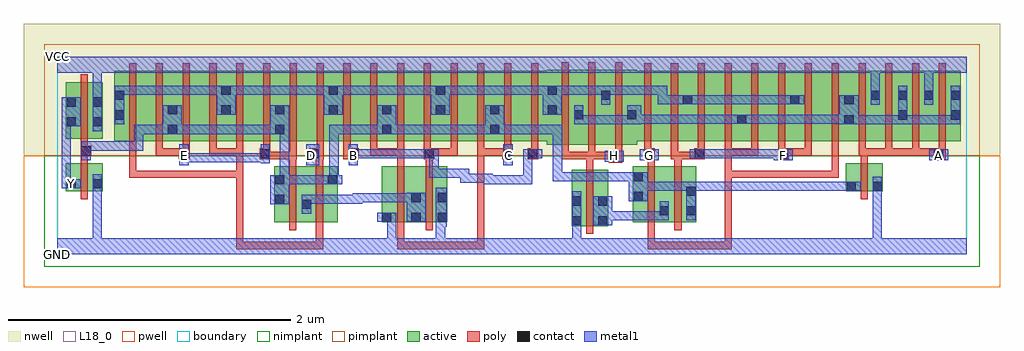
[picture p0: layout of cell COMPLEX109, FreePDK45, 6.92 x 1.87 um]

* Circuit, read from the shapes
.subckt COMPLEX109 A B C D E F G GND H VCC Y
M1 GND n1 Y VSUBS nfet w=0.2u l=0.05u
M2 n2 E n1 VSUBS nfet w=0.4u l=0.05u
M3 n1 D n2 VSUBS nfet w=0.4u l=0.05u
M4 n2 C GND VSUBS nfet w=0.4u l=0.05u
M5 GND B n2 VSUBS nfet w=0.4u l=0.05u
M6 n3 H GND VSUBS nfet w=0.4u l=0.05u
M7 n3 G n1 VSUBS nfet w=0.4u l=0.05u
M8 n1 F n3 VSUBS nfet w=0.4u l=0.05u
M9 GND A n1 VSUBS nfet w=0.2u l=0.05u
M10 VCC n1 Y n4 pfet w=0.4u l=0.05u
M11 n5 D n6 n4 pfet w=0.5u l=0.05u
M12 n1 E n5 n4 pfet w=0.5u l=0.05u
M13 n7 E n1 n4 pfet w=0.5u l=0.05u
M14 n6 D n7 n4 pfet w=0.5u l=0.05u
M15 n8 D n6 n4 pfet w=0.5u l=0.05u
M16 n1 E n8 n4 pfet w=0.5u l=0.05u
M17 n9 E n1 n4 pfet w=0.5u l=0.05u
M18 n6 D n9 n4 pfet w=0.5u l=0.05u
M19 n10 B n6 n4 pfet w=0.5u l=0.05u
M20 n1 C n10 n4 pfet w=0.5u l=0.05u
M21 n11 C n1 n4 pfet w=0.5u l=0.05u
M22 n6 B n11 n4 pfet w=0.5u l=0.05u
M23 n12 B n6 n4 pfet w=0.5u l=0.05u
M24 n1 C n12 n4 pfet w=0.5u l=0.05u
M25 n13 C n1 n4 pfet w=0.5u l=0.05u
M26 n6 B n13 n4 pfet w=0.5u l=0.05u
M27 n14 H n6 n4 pfet w=0.532u l=0.05u m=3
M28 n15 G n14 n4 pfet w=0.5u l=0.05u
M29 n6 F n15 n4 pfet w=0.5u l=0.05u
M30 n16 F n6 n4 pfet w=0.5u l=0.05u
M31 n14 G n16 n4 pfet w=0.5u l=0.05u
M32 n17 G n14 n4 pfet w=0.5u l=0.05u
M33 n6 F n17 n4 pfet w=0.5u l=0.05u
M34 n18 F n6 n4 pfet w=0.5u l=0.05u
M35 n14 G n18 n4 pfet w=0.5u l=0.05u
M36 VCC A n14 n4 pfet w=0.5u l=0.05u m=4
.ends

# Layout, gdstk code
import gdstk
lib = gdstk.Library(unit=1e-6, precision=1e-09)
def R(c, l, rs):  # rectangles x0, y0, x1, y1
    for r in rs: c.add(gdstk.rectangle(r[:2], r[2:], *l))
def A(c, l, x, y, w, h, nx, ny, dx, dy):  # array of equal rectangles
    R(c, l, [(x+i*dx, y+j*dy, x+i*dx+w, y+j*dy+h) for i in range(nx) for j in range(ny)])
active = (1, 0)
pwell = (2, 0)
nwell = (3, 0)
nimplant = (4, 0)
pimplant = (5, 0)
poly = (9, 0)
contact = (10, 0)
metal1 = (11, 0)
L18_0 = (18, 0)
boundary = (235, 0)

complex109 = lib.new_cell('COMPLEX109')
A(complex109, active, 0.63, 0.8, 0.225, 0.5, 6, 1, 0.38, 0)
A(complex109, active, 0.78, 0.8, 0.23, 0.5, 6, 1, 0.38, 0)
A(complex109, active, 0.78, 0.8, 0.075, 0.27, 3, 1, 0.76, 0)
R(complex109, active, [(3.647,0.2,3.907,0.6), (3.647,0.2,3.722,0.6), (3.832,0.2,3.907,0.6), (1.54,0.225,1.805,0.625), (1.54,0.225,1.615,0.625), (1.73,0.225,1.99,0.625), (1.73,0.225,1.805,0.537), (2.3,0.225,2.375,0.625), (2.3,0.225,2.582,0.625), (2.507,0.225,2.767,0.625), (2.507,0.225,2.582,0.537), (2.692,0.225,2.767,0.625), (4.082,0.225,4.342,0.625), (4.267,0.225,4.532,0.625), (1.915,0.245,1.99,0.625), (4.082,0.245,4.157,0.625), (4.267,0.245,4.342,0.537), (4.457,0.245,4.532,0.625), (0.062,0.445,0.137,0.645), (0.062,0.445,0.322,0.645), (0.247,0.445,0.322,0.645), (5.592,0.445,5.667,0.645), (5.592,0.445,5.852,0.645), (5.777,0.445,5.852,0.645), (3.472,0.775,3.735,1.307), (3.66,0.775,3.927,1.307), (3.66,0.775,3.735,1.07), (3.852,0.775,4.112,1.307), (3.852,0.775,3.927,1.2), (0.405,0.8,0.63,1.3), (0.405,0.8,0.51,1.2), (1.92,0.8,1.995,1.2), (2.91,0.8,3.14,1.3), (3.065,0.8,3.29,1.3), (3.065,0.8,3.14,1.07), (3.29,0.8,3.547,1.3), (3.472,0.8,3.547,1.2), (4.037,0.8,4.282,1.3), (4.282,0.8,4.507,1.3), (4.432,0.8,4.662,1.3), (4.662,0.8,4.892,1.3), (4.817,0.8,5.042,1.3), (5.042,0.8,5.267,1.3), (5.192,0.8,5.422,1.3), (5.422,0.8,5.652,1.3), (5.577,0.8,5.837,1.3), (5.762,0.8,6.032,1.3), (5.957,0.8,6.217,1.3), (6.142,0.8,6.407,1.3), (6.332,0.8,6.407,1.2), (1.16,0.807,1.235,1.2), (2.68,0.807,2.755,1.2), (4.037,0.807,4.112,1.07), (4.432,0.807,4.507,1.2), (4.817,0.807,4.892,1.07), (5.192,0.807,5.267,1.2), (5.577,0.807,5.652,1.2), (5.762,0.807,5.837,1.255), (5.957,0.807,6.032,1.2), (6.142,0.807,6.217,1.255), (0.062,0.82,0.137,1.2), (0.062,0.82,0.322,1.22), (0.247,0.82,0.322,1.22)])
R(complex109, pwell, [(-0.235,-0.235,6.685,0.7)])
R(complex109, nwell, [(-0.235,0.7,6.685,1.635)])
R(complex109, nimplant, [(-0.09,-0.09,6.54,0.7)])
R(complex109, pimplant, [(-0.09,0.7,6.54,1.49)])
A(complex109, poly, 3.577, 0.675, 0.05, 0.095, 3, 1, 0.19, 0)
A(complex109, poly, 0.7, 0.7, 0.05, 0.095, 5, 1, 0.19, 0)
A(complex109, poly, 1.84, 0.7, 0.05, 0.095, 9, 1, 0.19, 0)
A(complex109, poly, 4.542, 0.7, 0.05, 0.095, 5, 1, 0.19, 0)
A(complex109, poly, 5.682, 0.7, 0.05, 0.095, 4, 1, 0.19, 0)
A(complex109, poly, 3.577, 0.72, 0.05, 0.642, 3, 1, 0.19, 0)
A(complex109, poly, 0.51, 0.745, 0.05, 0.61, 16, 1, 0.19, 0)
A(complex109, poly, 4.162, 0.745, 0.05, 0.61, 12, 1, 0.19, 0)
R(complex109, poly, [(1.27,0.037,1.32,0.087), (1.27,0.037,1.32,0.592), (1.27,0.037,1.49,0.087), (1.44,0.037,1.49,0.087), (1.44,0.037,1.49,0.087), (1.44,0.037,1.49,0.087), (1.44,0.037,1.49,0.087), (1.44,0.037,1.49,0.087), (1.44,0.037,1.49,0.087), (1.44,0.037,1.49,0.087), (1.44,0.037,1.705,0.087), (1.655,0.037,1.705,0.087), (1.655,0.037,1.705,0.087), (1.655,0.037,1.705,0.087), (1.655,0.037,1.885,0.087), (1.835,0.037,1.885,0.087), (1.835,0.037,1.885,0.087), (1.835,0.037,1.885,0.087), (1.835,0.037,1.885,0.22), (2.41,0.037,2.46,0.087), (2.41,0.037,2.46,0.087), (2.41,0.037,2.46,0.087), (2.41,0.037,2.46,0.22), (2.41,0.037,2.707,0.087), (2.657,0.037,2.707,0.087), (2.657,0.037,2.707,0.087), (2.657,0.037,2.707,0.087), (2.657,0.037,2.84,0.087), (2.79,0.037,2.84,0.087), (2.79,0.037,2.84,0.087), (2.79,0.037,2.84,0.087), (2.79,0.037,2.84,0.087), (2.79,0.037,2.84,0.087), (2.79,0.037,3.03,0.087), (2.98,0.037,3.03,0.087), (2.98,0.037,3.03,0.087), (2.98,0.037,3.03,0.087), (2.98,0.037,3.03,0.087), (2.98,0.037,3.03,0.087), (2.98,0.037,3.03,0.087), (2.98,0.037,3.03,0.087), (2.98,0.037,3.03,0.75), (4.187,0.037,4.237,0.087), (4.187,0.037,4.237,0.087), (4.187,0.037,4.237,0.087), (4.187,0.037,4.435,0.087), (4.187,0.037,4.237,0.22), (4.385,0.037,4.435,0.087), (4.385,0.037,4.502,0.087), (4.452,0.037,4.502,0.087), (4.452,0.037,4.575,0.087), (4.525,0.037,4.575,0.087), (4.525,0.037,4.575,0.087), (4.525,0.037,4.575,0.087), (4.525,0.037,4.782,0.087), (4.732,0.037,4.782,0.087), (4.732,0.037,4.782,0.087), (4.732,0.037,4.782,0.087), (4.732,0.037,4.782,0.592), (3.752,0.145,3.802,0.655), (1.645,0.17,1.695,0.68), (1.835,0.17,1.885,0.68), (2.41,0.17,2.46,0.68), (2.612,0.17,2.662,0.68), (4.187,0.17,4.237,0.68), (4.377,0.17,4.427,0.68), (0.167,0.39,0.217,0.7), (5.697,0.39,5.747,0.7), (0.51,0.542,0.56,0.592), (0.51,0.542,0.56,0.592), (0.51,0.542,0.56,0.592), (0.51,0.542,0.56,0.592), (0.51,0.542,0.56,0.592), (0.51,0.542,0.56,0.592), (0.51,0.542,0.56,0.592), (0.51,0.542,0.56,0.795), (0.51,0.542,0.78,0.592), (0.73,0.542,0.78,0.592), (0.73,0.542,0.78,0.592), (0.73,0.542,0.78,0.592), (0.73,0.542,0.997,0.592), (0.947,0.542,0.997,0.592), (0.947,0.542,0.997,0.592), (0.947,0.542,0.997,0.592), (0.947,0.542,1.187,0.592), (1.137,0.542,1.187,0.592), (1.137,0.542,1.187,0.592), (1.137,0.542,1.187,0.592), (1.137,0.542,1.32,0.592), (1.27,0.542,1.32,0.592), (1.27,0.542,1.32,0.592), (1.27,0.542,1.32,0.592), (1.27,0.542,1.32,0.75), (4.732,0.542,4.782,0.592), (4.732,0.542,4.782,0.592), (4.732,0.542,4.782,0.592), (4.732,0.542,4.915,0.592), (4.732,0.542,4.782,0.75), (4.865,0.542,4.915,0.592), (4.865,0.542,4.915,0.592), (4.865,0.542,4.915,0.592), (4.865,0.542,5.072,0.592), (5.022,0.542,5.072,0.592), (5.022,0.542,5.072,0.592), (5.022,0.542,5.072,0.592), (5.022,0.542,5.32,0.592), (5.27,0.542,5.32,0.592), (5.27,0.542,5.32,0.592), (5.27,0.542,5.32,0.592), (5.27,0.542,5.542,0.592), (5.492,0.542,5.542,0.592), (5.492,0.542,5.542,0.592), (5.492,0.542,5.542,0.592), (5.492,0.542,5.542,0.592), (5.492,0.542,5.542,0.592), (5.492,0.542,5.542,0.592), (5.492,0.542,5.542,0.592), (5.492,0.542,5.542,0.592), (5.492,0.542,5.542,0.592), (5.492,0.542,5.542,0.795), (3.752,0.605,3.802,0.725), (1.645,0.63,1.695,0.725), (1.835,0.63,1.885,0.725), (2.41,0.63,2.46,0.75), (2.612,0.63,2.662,0.725), (4.187,0.63,4.237,0.725), (4.377,0.63,4.427,0.725), (0.167,0.65,0.217,0.745), (3.912,0.65,4.007,0.725), (5.697,0.65,5.747,0.75), (0.862,0.675,0.94,0.75), (1.437,0.675,1.512,0.75), (1.462,0.675,1.695,0.725), (1.645,0.675,1.695,0.725), (1.645,0.675,1.695,0.725), (1.645,0.675,1.7,0.725), (1.65,0.675,1.7,0.795), (1.787,0.675,1.89,0.75), (2.03,0.675,2.137,0.75), (2.6,0.675,2.675,0.75), (3.157,0.675,3.232,0.75), (3.335,0.675,3.41,0.75), (3.577,0.675,3.627,0.725), (3.577,0.675,3.802,0.725), (3.752,0.675,3.802,0.725), (3.752,0.675,3.802,0.725), (3.752,0.675,3.817,0.725), (3.767,0.675,3.962,0.725), (3.912,0.675,3.962,0.725), (3.912,0.675,3.962,0.725), (4.162,0.675,4.237,0.75), (4.352,0.675,4.402,0.795), (4.352,0.675,4.427,0.725), (4.377,0.675,4.427,0.725), (4.377,0.675,4.427,0.725), (4.377,0.675,4.567,0.725), (4.517,0.675,4.592,0.75), (5.112,0.675,5.187,0.75), (6.212,0.675,6.302,0.75), (0.167,0.695,0.242,0.77), (0.7,0.7,0.75,0.75), (0.7,0.7,0.75,0.75), (0.7,0.7,0.75,0.75), (0.7,0.7,0.912,0.75), (1.08,0.7,1.13,0.75), (1.08,0.7,1.32,0.75), (1.27,0.7,1.32,0.75), (1.27,0.7,1.32,0.75), (1.27,0.7,1.32,0.75), (2.22,0.7,2.27,0.75), (2.22,0.7,2.27,0.75), (2.22,0.7,2.27,0.75), (2.22,0.7,2.46,0.75), (2.41,0.7,2.46,0.75), (2.625,0.7,2.675,0.75), (2.625,0.7,2.675,0.75), (2.625,0.7,2.84,0.75), (2.79,0.7,2.84,0.75), (2.98,0.7,3.03,0.75), (2.98,0.7,3.207,0.75), (3.157,0.7,3.207,0.75), (3.157,0.7,3.207,0.75), (4.162,0.7,4.212,0.795), (4.732,0.7,4.782,0.75), (4.732,0.7,4.782,0.75), (4.732,0.7,4.782,0.75), (4.732,0.7,4.94,0.75), (4.89,0.7,4.94,0.75), (4.89,0.7,4.94,0.75), (4.89,0.7,4.972,0.75), (5.137,0.7,5.352,0.75), (5.302,0.7,5.352,0.75), (5.302,0.7,5.352,0.75), (5.302,0.7,5.352,0.75), (5.682,0.7,5.747,0.75), (5.697,0.7,5.747,0.75), (5.697,0.7,5.747,0.75), (5.697,0.7,5.922,0.75), (5.872,0.7,5.922,0.75), (5.872,0.7,6.112,0.75), (6.062,0.7,6.112,0.75), (6.062,0.7,6.112,0.75), (6.062,0.7,6.112,0.75), (6.062,0.7,6.262,0.75), (6.212,0.7,6.262,0.75), (6.212,0.7,6.262,0.75), (0.167,0.72,0.217,0.815), (0.167,0.765,0.217,1.275)])
A(complex109, contact, 0.785, 0.852, 0.065, 0.065, 3, 2, 0.76, 0.14)
A(complex109, contact, 1.165, 0.99, 0.065, 0.065, 3, 2, 0.76, 0.14)
R(complex109, contact, [(3.652,0.205,3.717,0.27), (3.837,0.205,3.902,0.27), (2.305,0.23,2.37,0.295), (2.512,0.23,2.577,0.295), (2.697,0.23,2.762,0.295), (4.272,0.275,4.337,0.34), (4.462,0.275,4.527,0.34), (1.735,0.322,1.8,0.387), (3.652,0.345,3.717,0.41), (3.837,0.345,3.902,0.41), (1.545,0.355,1.61,0.42), (2.512,0.37,2.577,0.435), (2.697,0.37,2.762,0.435), (4.087,0.377,4.152,0.442), (4.462,0.415,4.527,0.48), (5.597,0.45,5.662,0.515), (5.782,0.45,5.847,0.515), (0.067,0.467,0.132,0.532), (0.252,0.467,0.317,0.532), (1.545,0.495,1.61,0.56), (1.92,0.495,1.985,0.56), (4.087,0.517,4.152,0.582), (3.917,0.655,3.982,0.72), (0.867,0.68,0.932,0.745), (1.442,0.68,1.507,0.745), (1.792,0.68,1.857,0.745), (2.067,0.68,2.132,0.745), (2.605,0.68,2.67,0.745), (3.162,0.68,3.227,0.745), (3.34,0.68,3.405,0.745), (4.167,0.68,4.232,0.745), (4.522,0.68,4.587,0.745), (5.117,0.68,5.182,0.745), (6.217,0.68,6.282,0.745), (0.172,0.7,0.237,0.765), (3.07,0.852,3.135,0.917), (0.067,0.907,0.132,0.972), (0.252,0.907,0.317,0.972), (5.582,0.922,5.647,0.987), (4.822,0.925,4.887,0.99), (0.41,0.955,0.475,1.02), (5.962,0.955,6.027,1.02), (6.337,0.955,6.402,1.02), (3.665,0.957,3.73,1.022), (4.042,0.957,4.107,1.022), (3.477,0.99,3.542,1.055), (3.07,0.992,3.135,1.057), (0.067,1.047,0.132,1.112), (0.252,1.047,0.317,1.112), (4.437,1.062,4.502,1.127), (5.197,1.062,5.262,1.127), (5.582,1.062,5.647,1.127), (0.41,1.095,0.475,1.16), (3.857,1.095,3.922,1.16), (5.767,1.095,5.832,1.16), (5.962,1.095,6.027,1.16), (6.147,1.095,6.212,1.16), (6.337,1.095,6.402,1.16), (3.477,1.13,3.542,1.195)])
A(complex109, metal1, 0.75, 0.852, 0.135, 0.205, 3, 1, 0.76, 0)
A(complex109, metal1, 1.13, 0.99, 0.135, 0.205, 3, 1, 0.76, 0)
R(complex109, metal1, [(0,0,6.45,0.115), (0.252,0.05,0.317,0.115), (0.252,0.05,0.317,0.115), (0.252,0.05,0.317,0.497), (2.34,0.05,2.405,0.295), (2.685,0.05,2.75,0.26), (3.652,0.05,3.717,0.115), (3.652,0.05,3.717,0.115), (3.652,0.05,3.717,0.235), (5.782,0.05,5.847,0.115), (5.782,0.05,5.847,0.115), (5.782,0.05,5.847,0.115), (5.782,0.05,5.847,0.115), (5.782,0.05,5.847,0.115), (5.782,0.05,5.847,0.115), (5.782,0.05,5.847,0.48), (3.652,0.17,3.717,0.445), (2.685,0.195,2.75,0.26), (2.685,0.195,2.75,0.26), (2.685,0.195,2.762,0.47), (3.802,0.205,3.937,0.41), (2.27,0.23,2.405,0.295), (2.34,0.23,2.405,0.295), (2.34,0.23,2.405,0.295), (2.477,0.23,2.612,0.435), (3.872,0.24,3.937,0.305), (3.872,0.24,3.937,0.305), (3.872,0.24,4.187,0.305), (4.122,0.24,4.187,0.305), (4.122,0.24,4.187,0.305), (4.122,0.24,4.187,0.305), (4.122,0.24,4.337,0.305), (4.272,0.24,4.337,0.375), (4.462,0.24,4.527,0.515), (1.735,0.287,1.8,0.422), (1.51,0.355,1.645,0.56), (1.735,0.357,1.937,0.422), (1.872,0.357,1.937,0.422), (1.872,0.357,1.937,0.422), (1.872,0.357,1.937,0.422), (1.872,0.357,2.162,0.422), (2.097,0.357,2.162,0.422), (2.097,0.357,2.162,0.422), (2.097,0.357,2.162,0.432), (2.097,0.367,2.335,0.432), (2.27,0.367,2.335,0.432), (2.27,0.367,2.335,0.432), (2.27,0.367,2.335,0.432), (2.27,0.367,2.472,0.432), (2.407,0.367,2.472,0.432), (2.407,0.367,2.542,0.432), (4.052,0.377,4.187,0.582), (5.782,0.415,5.847,0.55), (0.252,0.432,0.317,0.497), (0.252,0.432,0.317,0.497), (0.252,0.432,0.317,0.497), (0.252,0.432,0.317,0.497), (0.252,0.432,0.317,0.567), (4.122,0.45,4.187,0.515), (4.122,0.45,4.187,0.515), (4.122,0.45,4.325,0.515), (4.26,0.45,4.325,0.515), (4.26,0.45,4.325,0.515), (4.26,0.45,4.325,0.515), (4.26,0.45,4.527,0.515), (4.462,0.45,4.527,0.515), (4.462,0.45,4.527,0.515), (4.462,0.45,4.682,0.515), (4.617,0.45,4.682,0.515), (4.617,0.45,4.76,0.515), (4.695,0.45,4.76,0.515), (4.695,0.45,4.922,0.515), (4.857,0.45,4.922,0.515), (4.857,0.45,4.922,0.515), (4.857,0.45,4.922,0.515), (4.857,0.45,4.922,0.515), (4.857,0.45,4.922,0.515), (4.857,0.45,5.067,0.515), (5.002,0.45,5.067,0.515), (5.002,0.45,5.067,0.515), (5.002,0.45,5.067,0.515), (5.002,0.45,5.21,0.515), (5.145,0.45,5.21,0.515), (5.145,0.45,5.347,0.515), (5.282,0.45,5.347,0.515), (5.282,0.45,5.347,0.515), (5.282,0.45,5.347,0.515), (5.282,0.45,5.485,0.515), (5.42,0.45,5.485,0.515), (5.42,0.45,5.627,0.515), (5.562,0.45,5.697,0.515), (0.032,0.467,0.167,0.532), (0.032,0.467,0.097,0.972), (1.58,0.495,1.645,0.56), (1.58,0.495,1.645,0.56), (1.58,0.495,1.645,0.56), (1.58,0.495,1.645,0.56), (1.58,0.495,1.8,0.56), (1.58,0.495,1.645,0.917), (1.735,0.495,1.8,0.56), (1.735,0.495,1.8,0.56), (1.735,0.495,1.8,0.56), (1.735,0.495,1.95,0.56), (1.885,0.495,2.02,0.56), (1.93,0.495,1.995,0.917), (3.025,0.495,3.09,0.56), (3.025,0.495,3.09,0.56), (3.025,0.495,3.227,0.56), (3.025,0.495,3.09,0.572), (3.162,0.495,3.227,0.56), (3.162,0.495,3.37,0.56), (3.305,0.495,3.37,0.56), (3.305,0.495,3.37,0.745), (2.857,0.507,2.922,0.572), (2.857,0.507,2.922,0.572), (2.857,0.507,3.09,0.572), (2.857,0.507,2.922,0.607), (3.515,0.517,3.58,0.582), (3.515,0.517,3.58,0.582), (3.515,0.517,3.58,0.582), (3.515,0.517,3.717,0.582), (3.515,0.517,3.58,0.917), (3.652,0.517,3.717,0.582), (3.652,0.517,3.717,0.582), (3.652,0.517,3.717,0.582), (3.652,0.517,3.937,0.582), (3.872,0.517,3.937,0.582), (3.872,0.517,3.937,0.582), (3.872,0.517,3.937,0.582), (3.872,0.517,4.117,0.582), (2.64,0.542,2.705,0.607), (2.64,0.542,2.922,0.607), (2.64,0.542,2.705,0.745), (0.867,0.632,0.932,0.78), (1.767,0.632,1.857,0.78), (2.067,0.632,2.132,0.78), (3.162,0.632,3.232,0.78), (1.442,0.645,1.507,0.78), (0.867,0.652,1.057,0.717), (0.992,0.652,1.057,0.717), (0.992,0.652,1.195,0.717), (1.13,0.652,1.195,0.717), (1.13,0.652,1.195,0.717), (1.13,0.652,1.195,0.717), (1.13,0.652,1.37,0.717), (1.305,0.652,1.37,0.717), (1.305,0.652,1.402,0.717), (1.337,0.652,1.402,0.717), (1.337,0.652,1.507,0.717), (3.882,0.655,4.017,0.732), (0.172,0.665,0.237,0.8), (4.132,0.667,4.267,0.745), (5.082,0.667,5.217,0.745), (6.182,0.667,6.317,0.745), (2.067,0.68,2.162,0.745), (2.097,0.68,2.162,0.745), (2.097,0.68,2.335,0.745), (2.27,0.68,2.335,0.745), (2.27,0.68,2.335,0.745), (2.27,0.68,2.335,0.745), (2.27,0.68,2.472,0.745), (2.407,0.68,2.472,0.745), (2.407,0.68,2.542,0.745), (2.477,0.68,2.542,0.745), (2.477,0.68,2.635,0.745), (2.57,0.68,2.705,0.745), (2.64,0.68,2.705,0.745), (2.64,0.68,2.705,0.745), (3.305,0.68,3.37,0.745), (3.305,0.68,3.37,0.745), (3.305,0.68,3.44,0.745), (4.487,0.68,4.622,0.745), (4.557,0.68,4.682,0.745), (4.617,0.68,4.682,0.745), (4.617,0.68,4.76,0.745), (4.695,0.68,4.76,0.745), (4.695,0.68,4.922,0.745), (4.857,0.68,4.922,0.745), (4.857,0.68,4.922,0.745), (4.857,0.68,4.922,0.745), (4.857,0.68,5.06,0.745), (4.995,0.68,5.06,0.745), (4.995,0.68,5.147,0.745), (0.172,0.735,0.237,0.8), (0.172,0.735,0.237,0.8), (0.172,0.735,0.375,0.8), (0.31,0.735,0.612,0.8), (0.31,0.735,0.375,0.8), (0.31,0.735,0.375,0.8), (0.31,0.735,0.375,0.8), (0.547,0.735,0.612,0.8), (0.547,0.735,0.612,0.917), (0.547,0.852,0.612,0.917), (0.547,0.852,0.612,0.917), (0.547,0.852,0.612,0.917), (0.547,0.852,0.815,0.917), (0.82,0.852,1.022,0.917), (0.957,0.852,1.022,0.917), (0.957,0.852,1.022,0.917), (0.957,0.852,1.022,0.917), (0.957,0.852,1.232,0.917), (1.167,0.852,1.232,0.917), (1.167,0.852,1.232,0.917), (1.167,0.852,1.232,0.917), (1.167,0.852,1.37,0.917), (1.305,0.852,1.37,0.917), (1.305,0.852,1.402,0.917), (1.337,0.852,1.402,0.917), (1.337,0.852,1.507,0.917), (1.442,0.852,1.507,0.917), (1.442,0.852,1.575,0.917), (1.93,0.852,1.995,0.917), (1.93,0.852,1.995,0.917), (1.93,0.852,1.995,0.917), (1.93,0.852,2.197,0.917), (2.132,0.852,2.197,0.917), (2.132,0.852,2.197,0.917), (2.132,0.852,2.197,0.917), (2.132,0.852,2.335,0.917), (2.27,0.852,2.335,0.917), (2.27,0.852,2.335,0.917), (2.34,0.852,2.472,0.917), (2.407,0.852,2.472,0.917), (2.407,0.852,2.542,0.917), (2.477,0.852,2.542,0.917), (2.477,0.852,2.777,0.917), (2.712,0.852,2.777,0.917), (2.712,0.852,2.777,0.917), (2.712,0.852,2.777,0.917), (2.712,0.852,2.922,0.917), (2.857,0.852,2.922,0.917), (2.857,0.852,2.922,0.917), (2.857,0.852,2.922,0.917), (2.857,0.852,3.06,0.917), (2.995,0.852,3.06,0.917), (2.995,0.852,3.1,0.917), (3.035,0.852,3.17,1.057), (3.105,0.852,3.227,0.917), (3.162,0.852,3.227,0.917), (3.162,0.852,3.37,0.917), (3.305,0.852,3.37,0.917), (3.305,0.852,3.37,0.917), (3.305,0.852,3.37,0.917), (3.305,0.852,3.58,0.917), (3.515,0.852,3.58,0.917), (3.515,0.852,3.58,0.917), (3.515,0.852,3.58,0.917), (0.252,0.872,0.317,1.147), (0.032,0.907,0.097,0.972), (0.032,0.907,0.097,0.972), (0.032,0.907,0.097,0.972), (0.032,0.907,0.097,0.972), (0.032,0.907,0.167,1.112), (0.41,0.92,0.475,1.195), (5.962,0.92,6.027,1.195), (5.962,0.92,6.027,0.985), (5.962,0.92,6.027,0.985), (5.962,0.92,6.165,0.985), (6.1,0.92,6.402,0.985), (6.1,0.92,6.165,0.985), (6.1,0.92,6.165,0.985), (6.1,0.92,6.165,0.985), (6.337,0.92,6.402,1.195), (3.665,0.922,3.73,0.987), (3.665,0.922,3.73,0.987), (3.665,0.922,3.73,1.057), (3.665,0.922,3.867,0.987), (3.802,0.922,3.867,0.987), (3.802,0.922,3.867,0.987), (3.802,0.922,3.867,0.987), (3.802,0.922,4.107,0.987), (4.042,0.922,4.14,1.057), (5.547,0.922,5.682,1.127), (5.617,0.922,5.752,0.987), (5.687,0.922,5.752,0.987), (5.687,0.922,5.89,0.987), (5.825,0.922,5.89,0.987), (5.825,0.922,5.89,0.987), (5.825,0.922,5.89,0.987), (5.825,0.922,6.027,0.987), (4.075,0.925,4.14,0.99), (4.075,0.925,4.14,0.99), (4.075,0.925,4.33,0.99), (4.265,0.925,4.33,0.99), (4.265,0.925,4.33,0.99), (4.265,0.925,4.33,0.99), (4.265,0.925,4.537,0.99), (4.472,0.925,4.537,0.99), (4.472,0.925,4.537,0.99), (4.472,0.925,4.537,0.99), (4.472,0.925,4.675,0.99), (4.61,0.925,4.675,0.99), (4.61,0.925,4.775,0.99), (4.71,0.925,4.775,0.99), (4.71,0.925,4.852,0.99), (4.787,0.925,4.922,0.99), (4.857,0.925,4.922,0.99), (4.857,0.925,4.922,0.99), (4.857,0.925,5.072,0.99), (5.007,0.925,5.072,0.99), (5.007,0.925,5.072,0.99), (5.007,0.925,5.072,0.99), (5.007,0.925,5.21,0.99), (5.145,0.925,5.21,0.99), (5.145,0.925,5.347,0.99), (5.282,0.925,5.347,0.99), (5.282,0.925,5.347,0.99), (5.282,0.925,5.347,0.99), (5.282,0.925,5.612,0.99), (5.547,0.925,5.612,0.99), (5.547,0.925,5.612,0.99), (3.442,0.99,3.577,1.195), (3.857,1.06,3.922,1.195), (5.767,1.06,5.832,1.195), (6.147,1.06,6.212,1.195), (4.26,1.062,4.467,1.127), (4.26,1.062,4.325,1.13), (4.402,1.062,4.537,1.127), (4.472,1.062,4.537,1.127), (4.472,1.062,4.537,1.127), (4.472,1.062,4.675,1.127), (4.61,1.062,4.675,1.127), (4.61,1.062,4.762,1.127), (4.697,1.062,4.762,1.127), (4.697,1.062,4.82,1.127), (4.755,1.062,4.82,1.127), (4.755,1.062,4.912,1.127), (4.847,1.062,4.912,1.127), (4.847,1.062,5.072,1.127), (5.007,1.062,5.072,1.127), (5.007,1.062,5.072,1.127), (5.007,1.062,5.072,1.127), (5.007,1.062,5.227,1.127), (5.162,1.062,5.297,1.127), (4.26,1.065,4.325,1.13), (4.26,1.065,4.325,1.195), (0.252,1.082,0.317,1.35), (0.41,1.13,0.475,1.195), (0.41,1.13,0.475,1.195), (0.41,1.13,0.612,1.195), (0.547,1.13,0.612,1.195), (0.547,1.13,0.612,1.195), (0.547,1.13,0.612,1.195), (0.547,1.13,0.75,1.195), (0.685,1.13,0.75,1.195), (0.685,1.13,0.75,1.195), (0.685,1.13,0.75,1.195), (0.685,1.13,1.057,1.195), (0.992,1.13,1.057,1.195), (0.992,1.13,1.195,1.195), (1.13,1.13,1.195,1.195), (1.13,1.13,1.195,1.195), (1.2,1.13,1.37,1.195), (1.305,1.13,1.37,1.195), (1.305,1.13,1.402,1.195), (1.337,1.13,1.402,1.195), (1.337,1.13,1.507,1.195), (1.442,1.13,1.507,1.195), (1.442,1.13,1.662,1.195), (1.597,1.13,1.662,1.195), (1.597,1.13,1.662,1.195), (1.597,1.13,1.662,1.195), (1.597,1.13,1.8,1.195), (1.735,1.13,1.8,1.195), (1.735,1.13,1.955,1.195), (1.89,1.13,1.955,1.195), (1.89,1.13,1.955,1.195), (1.96,1.13,2.197,1.195), (2.132,1.13,2.197,1.195), (2.132,1.13,2.197,1.195), (2.132,1.13,2.197,1.195), (2.132,1.13,2.335,1.195), (2.27,1.13,2.335,1.195), (2.27,1.13,2.335,1.195), (2.27,1.13,2.335,1.195), (2.27,1.13,2.472,1.195), (2.407,1.13,2.472,1.195), (2.407,1.13,2.542,1.195), (2.477,1.13,2.542,1.195), (2.477,1.13,2.715,1.195), (2.65,1.13,2.715,1.195), (2.65,1.13,2.715,1.195), (2.72,1.13,2.922,1.195), (2.857,1.13,2.922,1.195), (2.857,1.13,2.922,1.195), (2.857,1.13,2.922,1.195), (2.857,1.13,3.09,1.195), (3.025,1.13,3.09,1.195), (3.025,1.13,3.09,1.195), (3.025,1.13,3.09,1.195), (3.025,1.13,3.227,1.195), (3.162,1.13,3.227,1.195), (3.162,1.13,3.37,1.195), (3.305,1.13,3.37,1.195), (3.305,1.13,3.37,1.195), (3.305,1.13,3.37,1.195), (3.305,1.13,3.507,1.195), (3.512,1.13,3.577,1.195), (3.512,1.13,3.577,1.195), (3.512,1.13,3.73,1.195), (3.665,1.13,3.73,1.195), (3.665,1.13,3.73,1.195), (3.665,1.13,3.73,1.195), (3.665,1.13,3.922,1.195), (3.857,1.13,3.922,1.195), (3.857,1.13,3.922,1.195), (3.857,1.13,4.075,1.195), (4.01,1.13,4.075,1.195), (4.01,1.13,4.075,1.195), (4.01,1.13,4.075,1.195), (4.01,1.13,4.325,1.195), (5.767,1.13,5.832,1.35), (6.147,1.13,6.212,1.35), (0,1.285,6.45,1.4)])
R(complex109, L18_0, [(0,0,6.45,0.115), (0.252,0.05,0.317,0.115), (0.252,0.05,0.317,0.115), (0.252,0.05,0.317,0.497), (2.34,0.05,2.405,0.295), (2.685,0.05,2.75,0.26), (3.652,0.05,3.717,0.115), (3.652,0.05,3.717,0.115), (3.652,0.05,3.717,0.235), (5.782,0.05,5.847,0.115), (5.782,0.05,5.847,0.115), (5.782,0.05,5.847,0.115), (5.782,0.05,5.847,0.115), (5.782,0.05,5.847,0.115), (5.782,0.05,5.847,0.115), (5.782,0.05,5.847,0.48), (3.652,0.17,3.717,0.445), (2.685,0.195,2.75,0.26), (2.685,0.195,2.75,0.26), (2.685,0.195,2.762,0.47), (2.27,0.23,2.405,0.295), (2.34,0.23,2.405,0.295), (2.34,0.23,2.405,0.295), (5.782,0.415,5.847,0.55), (0.252,0.432,0.317,0.497), (0.252,0.432,0.317,0.497), (0.252,0.432,0.317,0.497), (0.252,0.432,0.317,0.497), (0.252,0.432,0.317,0.567), (0.032,0.467,0.167,0.532), (0.032,0.467,0.097,0.972), (0.067,0.467,0.132,0.532), (3.025,0.495,3.09,0.56), (3.025,0.495,3.09,0.56), (3.025,0.495,3.227,0.56), (3.025,0.495,3.09,0.572), (3.162,0.495,3.227,0.56), (3.162,0.495,3.37,0.56), (3.305,0.495,3.37,0.56), (3.305,0.495,3.37,0.745), (2.857,0.507,2.922,0.572), (2.857,0.507,2.922,0.572), (2.857,0.507,2.922,0.607), (2.857,0.507,3.09,0.572), (2.64,0.542,2.705,0.607), (2.64,0.542,2.705,0.745), (2.64,0.542,2.922,0.607), (0.867,0.632,0.932,0.78), (1.767,0.632,1.857,0.78), (2.067,0.632,2.132,0.78), (3.162,0.632,3.232,0.78), (1.442,0.645,1.507,0.78), (0.867,0.652,1.057,0.717), (0.992,0.652,1.057,0.717), (0.992,0.652,1.195,0.717), (1.13,0.652,1.195,0.717), (1.13,0.652,1.195,0.717), (1.13,0.652,1.195,0.717), (1.13,0.652,1.37,0.717), (1.305,0.652,1.37,0.717), (1.305,0.652,1.402,0.717), (1.337,0.652,1.402,0.717), (1.337,0.652,1.507,0.717), (3.882,0.655,4.017,0.732), (0.867,0.667,0.932,0.732), (1.767,0.667,1.832,0.732), (2.067,0.667,2.132,0.732), (3.167,0.667,3.232,0.732), (3.917,0.667,3.982,0.732), (4.132,0.667,4.267,0.745), (4.167,0.667,4.232,0.732), (5.082,0.667,5.217,0.745), (5.117,0.667,5.182,0.732), (6.182,0.667,6.317,0.745), (6.217,0.667,6.282,0.732), (2.067,0.68,2.162,0.745), (2.097,0.68,2.162,0.745), (2.097,0.68,2.335,0.745), (2.27,0.68,2.335,0.745), (2.27,0.68,2.335,0.745), (2.27,0.68,2.335,0.745), (2.27,0.68,2.472,0.745), (2.407,0.68,2.542,0.745), (2.407,0.68,2.472,0.745), (2.477,0.68,2.542,0.745), (2.477,0.68,2.635,0.745), (2.57,0.68,2.705,0.745), (2.64,0.68,2.705,0.745), (2.64,0.68,2.705,0.745), (3.305,0.68,3.44,0.745), (3.305,0.68,3.37,0.745), (3.305,0.68,3.37,0.745), (4.487,0.68,4.622,0.745), (4.557,0.68,4.682,0.745), (4.617,0.68,4.682,0.745), (4.617,0.68,4.76,0.745), (4.695,0.68,4.76,0.745), (4.695,0.68,4.922,0.745), (4.857,0.68,4.922,0.745), (4.857,0.68,4.922,0.745), (4.857,0.68,4.922,0.745), (4.857,0.68,5.06,0.745), (4.995,0.68,5.06,0.745), (4.995,0.68,5.147,0.745), (0.252,0.872,0.317,1.147), (0.032,0.907,0.097,0.972), (0.032,0.907,0.097,0.972), (0.032,0.907,0.097,0.972), (0.032,0.907,0.097,0.972), (0.032,0.907,0.167,1.112), (5.767,1.06,5.832,1.195), (6.147,1.06,6.212,1.195), (0.252,1.082,0.317,1.35), (5.767,1.13,5.832,1.35), (6.147,1.13,6.212,1.35), (0,1.285,6.45,1.4)])
R(complex109, boundary, [(0,0,6.45,1.4)])
complex109.add(gdstk.Label('A', (6.25,0.7), layer=11, texttype=0))
complex109.add(gdstk.Label('B', (2.1,0.7), layer=11, texttype=0))
complex109.add(gdstk.Label('C', (3.2,0.7), layer=11, texttype=0))
complex109.add(gdstk.Label('D', (1.8,0.7), layer=11, texttype=0))
complex109.add(gdstk.Label('E', (0.9,0.7), layer=11, texttype=0))
complex109.add(gdstk.Label('F', (5.15,0.7), layer=11, texttype=0))
complex109.add(gdstk.Label('G', (4.2,0.7), layer=11, texttype=0))
complex109.add(gdstk.Label('H', (3.95,0.7), layer=11, texttype=0))
complex109.add(gdstk.Label('Y', (0.1,0.5), layer=11, texttype=0))
complex109.add(gdstk.Label('VCC', (0,1.4), layer=11, texttype=0))
complex109.add(gdstk.Label('GND', (0,0), layer=11, texttype=0))

lib.write_gds('COMPLEX109.gds')
